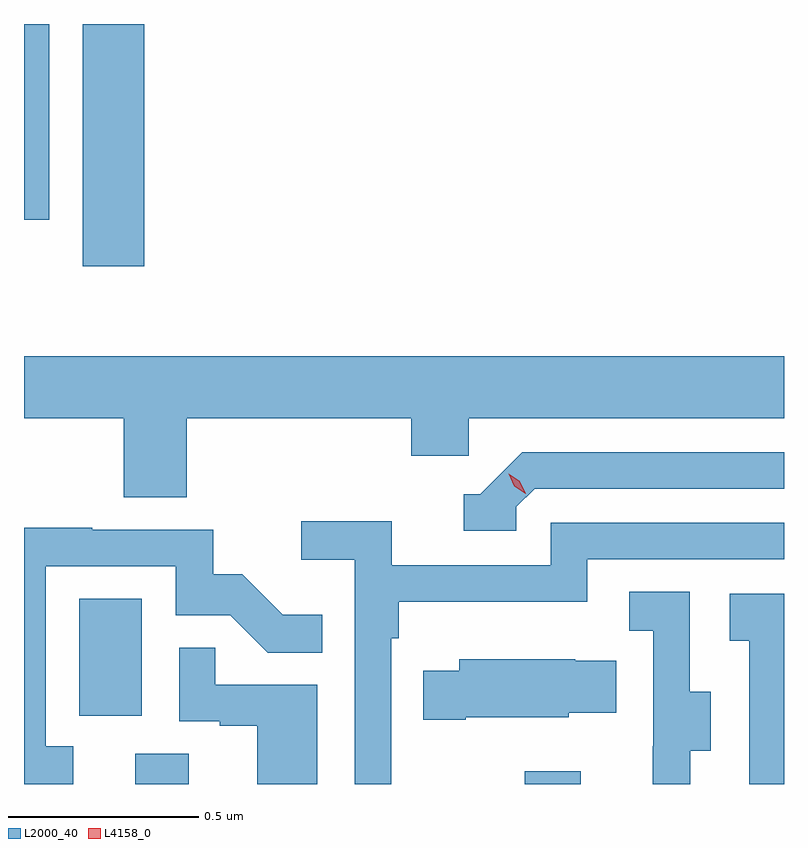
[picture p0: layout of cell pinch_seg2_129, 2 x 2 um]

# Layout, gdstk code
import gdstk
lib = gdstk.Library(unit=1e-6, precision=1e-09)
def R(c, l, rs):  # rectangles x0, y0, x1, y1
    for r in rs: c.add(gdstk.rectangle(r[:2], r[2:], *l))
def P(c, l, *ps):  # polygons
    for p in ps: c.add(gdstk.Polygon(p, *l))
L2000_40 = (2000, 40)
L4158_0 = (4158, 0)

pinch_seg2_129 = lib.new_cell('pinch_seg2_129')
R(pinch_seg2_129, L2000_40, [(1066.121,628.026,1066.261,628.106), (1067.146,628.026,1067.293,628.06), (1065.974,628.206,1066.138,628.513), (1065.983,629.388,1066.144,630.026), (1065.828,629.511,1065.894,630.026)])
P(pinch_seg2_129, L2000_40, [(1066.256,628.988),(1066.847,628.988),(1066.847,628.89),(1066.998,628.89),(1066.998,628.988),(1067.828,628.988),(1067.828,629.152),(1065.828,629.152),(1065.828,628.988),(1066.091,628.988),(1066.091,628.78),(1066.256,628.78)],
  [(1067.124,628.755),(1067.172,628.803),(1067.828,628.803),(1067.828,628.899),(1067.139,628.899),(1067.028,628.788),(1066.985,628.788),(1066.985,628.692),(1067.124,628.692)],
  [(1066.794,628.409),(1066.814,628.409),(1066.814,628.505),(1067.31,628.505),(1067.31,628.617),(1067.828,628.617),(1067.828,628.713),(1067.214,628.713),(1067.214,628.602),(1066.796,628.602),(1066.796,628.718),(1066.557,628.718),(1066.557,628.616),(1066.698,628.616),(1066.698,628.026),(1066.794,628.026)],
  [(1065.958,628.125),(1065.885,628.125),(1065.885,628.599),(1066.227,628.599),(1066.227,628.47),(1066.371,628.47),(1066.469,628.372),(1066.613,628.372),(1066.613,628.471),(1066.509,628.471),(1066.402,628.578),(1066.326,628.578),(1066.326,628.695),(1066.007,628.695),(1066.007,628.7),(1065.828,628.7),(1065.828,628.026),(1065.958,628.026)],
  [(1067.581,628.114),(1067.635,628.114),(1067.635,628.269),(1067.58,628.269),(1067.58,628.532),(1067.421,628.532),(1067.421,628.429),(1067.484,628.429),(1067.484,628.125),(1067.483,628.125),(1067.483,628.026),(1067.581,628.026)],
  [(1067.828,628.527),(1067.685,628.527),(1067.685,628.403),(1067.736,628.403),(1067.736,628.026),(1067.828,628.026)],
  [(1066.6,628.287),(1066.331,628.287),(1066.331,628.385),(1066.236,628.385),(1066.236,628.191),(1066.343,628.191),(1066.343,628.179),(1066.442,628.179),(1066.442,628.026),(1066.6,628.026)],
  [(1066.99,628.202),(1067.262,628.202),(1067.262,628.214),(1067.387,628.214),(1067.387,628.351),(1067.279,628.351),(1067.279,628.354),(1066.973,628.354),(1066.973,628.324),(1066.879,628.324),(1066.879,628.195),(1066.99,628.195)])
P(pinch_seg2_129, L4158_0, [(1067.148,628.79),(1067.118,628.81),(1067.103,628.842),(1067.103,628.843),(1067.103,628.843),(1067.133,628.823),(1067.149,628.79),(1067.149,628.79)])

lib.write_gds('pinch_seg2_129.gds')
